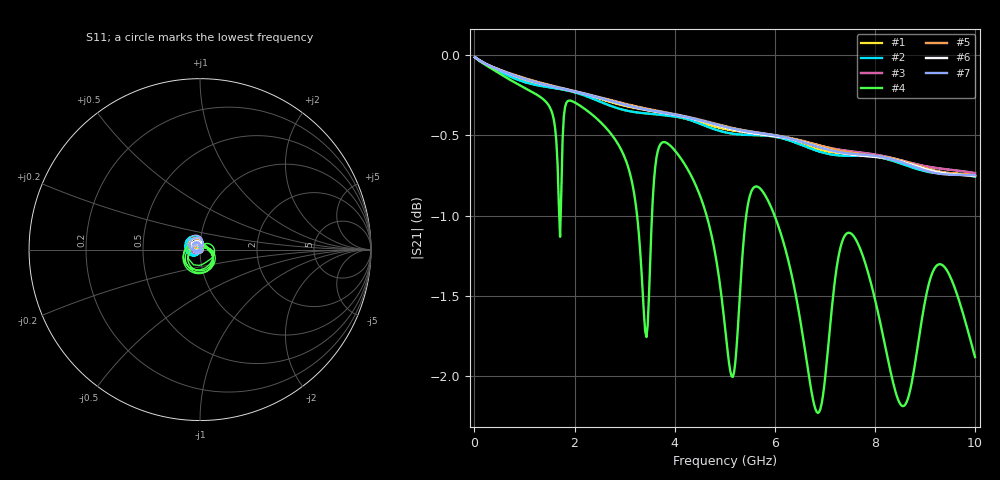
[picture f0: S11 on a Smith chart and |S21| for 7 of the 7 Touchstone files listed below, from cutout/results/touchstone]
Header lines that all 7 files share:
! Cutout equivalence validation - 38 mm 50 ohm symmetric stripline
! Solver: Ansys HFSS 3D Layout 2026 R1, broadband adaptive 1-5 GHz,
!  Delta S 0.02, interpolating sweep 10 MHz - 10 GHz
# GHz S MA R 50.000000
! Terminal data exported
! Port[1] = U1.PAD1.SIG
! Port[2] = U2.PAD1.SIG
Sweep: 10 MHz to 10 GHz
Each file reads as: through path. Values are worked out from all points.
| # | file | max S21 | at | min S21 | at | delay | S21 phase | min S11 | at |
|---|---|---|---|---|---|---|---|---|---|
| 1 | baseline_full_board.s2p | -0.01 dB | 10 MHz | -0.8 dB | 10 GHz | 261 ps | -112 deg at 5.01 GHz | -63.7 dB | 5.96 GHz |
| 2 | control_baseline_full_board.s2p | -0.01 dB | 10 MHz | -0.8 dB | 10 GHz | 261 ps | -113 deg at 5.01 GHz | -56.2 dB | 10 MHz |
| 3 | control_cutout_expansion1mm_vias_kept.s2p | -0.01 dB | 10 MHz | -0.7 dB | 10 GHz | 259 ps | -109 deg at 5.01 GHz | -59.7 dB | 2.01 GHz |
| 4 | cutout_expansion1mm_vias_removed.s2p | -0.01 dB | 10 MHz | -2.2 dB | 6.86 GHz | 260 ps | -116 deg at 5.01 GHz | -53.3 dB | 10 MHz |
| 5 | cutout_expansion2mm.s2p | -0.01 dB | 10 MHz | -0.7 dB | 10 GHz | 260 ps | -110 deg at 5.01 GHz | -65.3 dB | 2.185 GHz |
| 6 | cutout_expansion3mm.s2p | -0.01 dB | 10 MHz | -0.8 dB | 10 GHz | 260 ps | -111 deg at 5.01 GHz | -64.2 dB | 2.135 GHz |
| 7 | cutout_expansion5mm.s2p | -0.01 dB | 10 MHz | -0.7 dB | 10 GHz | 260 ps | -111 deg at 5.01 GHz | -59.4 dB | 2.11 GHz |
